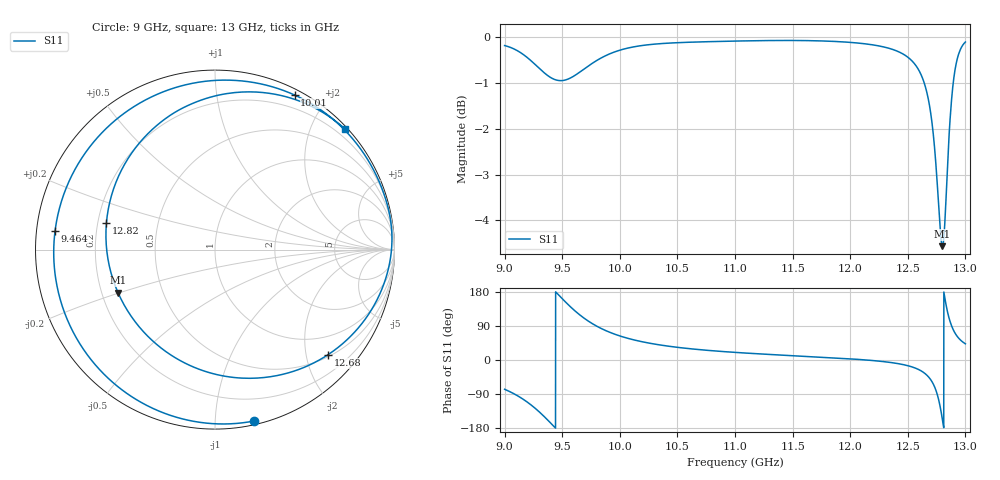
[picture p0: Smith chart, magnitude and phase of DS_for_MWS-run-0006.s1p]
! TOUCHSTONE file generated by CST DESIGN STUDIO
! Date and time: Tue Feb  4 16:27:46 2025
! Project name: C:\Work\MatlabApps\UnitCellOptimizationMatlab\CST\unitcell.cst
! Tree item: Tasks\Sweep1\SPara1\S-Parameters
! Header version: 2024
! Port assignment regex: !\s*Touchstone port\s*([0-9]+)\s*=\s*(CST MWS port|CST DES external port|CST DES block port)\s*(.+)\s* \(\"(.*)\"\)(\s*mode\s*([0-9]+))?.*
! Touchstone port assignment:
! Touchstone port 1 = CST DES external port 1 ("")
# GHz S MA R 50
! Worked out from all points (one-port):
!   4001 points, 9 GHz to 13 GHz, reference 50 ohm
!   lowest |S11| = -4.6 dB at 12.8 GHz (marker M1), VSWR 3.89, Z = 13.4 - j9.86 ohm
!   |S11| at or under -10 dB: nowhere
!   S11 on the Smith chart (normalised r, x): 9 GHz: 0.03, -1.25; 9.464 GHz: 0.05, +0.06; 10.01 GHz: 0.06, +1.64; 12.68 GHz: 0.54, -2.44; 12.82 GHz: 0.24, +0.11; 13 GHz: 0.04, +2.56
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9  0.9794 -77.2
9.135  0.9628 -98.5
9.241  0.9399 -121.3
9.365  0.91 -155.6
9.464  0.8971 173.2
9.5  0.8968 161.8
9.604  0.9075 131.4
9.707  0.9265 106.7
9.853  0.9515 81.1
10  0.968 63.5
10.008  0.9687 62.7
10.22  0.9805 46.5
10.5  0.9865 33.4
11  0.9905 20.1
11.5  0.992 11.4
12  0.9873 3.0
12.5  0.9512 -15.0
12.606  0.9153 -27.0
12.675  0.8598 -42.9
12.716  0.7949 -60.4
12.752  0.7029 -87.0
12.776  0.6305 -115.8
12.8  0.5912 -156.1
12.82  0.6225 166.4
12.851  0.7505 118.9
12.881  0.8577 89.5
12.935  0.953 60.0
13  0.9882 42.7
